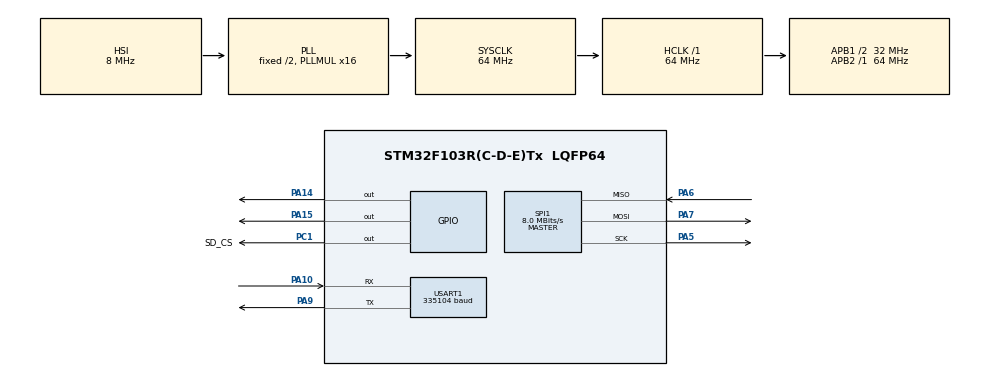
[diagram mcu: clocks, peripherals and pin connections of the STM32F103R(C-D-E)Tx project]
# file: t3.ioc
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FATFS._FS_REENTRANT=0
FREERTOS.Tasks01=defaultTask,24,128,StartDefaultTask,Default,NULL,Dynamic,NULL,NULL
FREERTOS.configUSE_NEWLIB_REENTRANT=1
Mcu.Family=STM32F1
Mcu.Name=STM32F103R(C-D-E)Tx
Mcu.Package=LQFP64
NVIC.PriorityGroup=NVIC_PRIORITYGROUP_4
NVIC.TIM1_UP_IRQn=true\:15\:0\:false\:false\:true\:false\:false\:true\:true
NVIC.TimeBase=TIM1_UP_IRQn
NVIC.TimeBaseIP=TIM1
PA10.Mode=Asynchronous
PA10.Signal=USART1_RX
PA14.Signal=GPIO_Output
PA15.Signal=GPIO_Output
PA5.Mode=Full_Duplex_Master
PA5.Signal=SPI1_SCK
PA6.Mode=Full_Duplex_Master
PA6.Signal=SPI1_MISO
PA7.Mode=Full_Duplex_Master
PA7.Signal=SPI1_MOSI
PA9.Mode=Asynchronous
PA9.Signal=USART1_TX
PC1.GPIO_Label=SD_CS
PC1.Signal=GPIO_Output
ProjectManager.HeapSize=0x200
ProjectManager.StackSize=0x400
ProjectManager.TargetToolchain=STM32CubeIDE
RCC.AHBFreq_Value=64000000
RCC.APB1CLKDivider=RCC_HCLK_DIV2
RCC.APB1Freq_Value=32000000
RCC.APB1TimFreq_Value=64000000
RCC.APB2Freq_Value=64000000
RCC.APB2TimFreq_Value=64000000
RCC.HCLKFreq_Value=64000000
RCC.PLLMUL=RCC_PLL_MUL16
RCC.SYSCLKFreq_VALUE=64000000
RCC.SYSCLKSource=RCC_SYSCLKSOURCE_PLLCLK
RCC.USBFreq_Value=64000000
SPI1.BaudRatePrescaler=SPI_BAUDRATEPRESCALER_8
SPI1.CalculateBaudRate=8.0 MBits/s
SPI1.Direction=SPI_DIRECTION_2LINES
SPI1.Mode=SPI_MODE_MASTER
SPI1.VirtualType=VM_MASTER
USART1.BaudRate=335104
USART1.VirtualMode=VM_ASYNC
VP_FATFS_VS_Generic.Mode=User_defined
VP_FREERTOS_VS_CMSIS_V2.Mode=CMSIS_V2
VP_SYS_VS_ND.Mode=No_Debug
VP_SYS_VS_tim1.Mode=TIM1
board=custom

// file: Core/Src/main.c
/* USER CODE BEGIN Header */
/**
  ******************************************************************************
  * @file           : main.c
  * @brief          : Main program body
  ******************************************************************************
  * @attention
  *
  * Copyright (c) 2025 STMicroelectronics.
  * All rights reserved.
  *
  * This software is licensed under terms that can be found in the LICENSE file
  * in the root directory of this software component.
  * If no LICENSE file comes with this software, it is provided AS-IS.
  *
  ******************************************************************************
  */
/* USER CODE END Header */
#include "main.h"
#include "cmsis_os.h"
#include "fatfs.h"

/* USER CODE BEGIN Includes */
#include <stdio.h>
#include <string.h>
#include <stdarg.h> //for va_list var arg functions
/* USER CODE END Includes */

SPI_HandleTypeDef hspi1;

UART_HandleTypeDef huart1;

/* Definitions for defaultTask */
osThreadId_t defaultTaskHandle;
const osThreadAttr_t defaultTask_attributes = {
  .name = "defaultTask",
  .stack_size = 128 * 4,
  .priority = (osPriority_t) osPriorityNormal,
};

void SystemClock_Config(void);
static void MX_GPIO_Init(void);
static void MX_USART1_UART_Init(void);
static void MX_SPI1_Init(void);
void StartDefaultTask(void *argument);

/* USER CODE BEGIN PFP */
void printk(const char*, ...);
#define myprintf printk
/* USER CODE END PFP */

int main(void)
{

  /* MCU Configuration--------------------------------------------------------*/

  /* Reset of all peripherals, Initializes the Flash interface and the Systick. */
  HAL_Init();

  /* Configure the system clock */
  SystemClock_Config();

  /* Initialize all configured peripherals */
  MX_GPIO_Init();
  MX_FATFS_Init();
  MX_USART1_UART_Init();
  MX_SPI1_Init();
  /* USER CODE BEGIN 2 */

  myprintf("\r\n~ SD card demo by kiwih ~\r\n\r\n");
  HAL_Delay(1000); //a short delay is important to let the SD card settle

    //some variables for FatFs
    FATFS FatFs; 	//Fatfs handle
    FIL fil; 		//File handle
    FRESULT fres; //Result after operations

    //Open the file system
    fres = f_mount(&FatFs, "", 1); //1=mount now
    if (fres != FR_OK) {
  	myprintf("f_mount error (%i)\r\n", fres);
  	while(1);
    }

    //Let's get some statistics from the SD card
    DWORD free_clusters, free_sectors, total_sectors;

    FATFS* getFreeFs;

    fres = f_getfree("", &free_clusters, &getFreeFs);
    if (fres != FR_OK) {
  	myprintf("f_getfree error (%i)\r\n", fres);
  	while(1);
    }

    //Formula comes from ChaN's documentation
    total_sectors = (getFreeFs->n_fatent - 2) * getFreeFs->csize;
    free_sectors = free_clusters * getFreeFs->csize;

    myprintf("SD card stats:\r\n%10lu KiB total drive space.\r\n%10lu KiB available.\r\n", total_sectors / 2, free_sectors / 2);

    //Read 30 bytes from "test.txt" on the SD card
    BYTE readBuf[512];

    //Now let's try to open file "test.txt"
    fres = f_open(&fil, "test.txt", FA_READ);
    if (fres == FR_OK) {
        myprintf("I was able to open 'test.txt' for reading!\r\n");

        //We can either use f_read OR f_gets to get data out of files
        //f_gets is a wrapper on f_read that does some string formatting for us
        TCHAR* rres = f_gets((TCHAR*)readBuf, 30, &fil);
        if(rres != 0) {
            myprintf("Read string from 'test.txt' contents: %s\r\n", readBuf);
        } else {
            myprintf("f_gets error (%i)\r\n", fres);
        }

        //Be a tidy kiwi - don't forget to close your file!
        f_close(&fil);
    }
    else{
        myprintf("f_open error (%i)\r\n", fres);
        //while(1);
    }

    UINT rlen, ttl=0;
    //Now let's try to open file "V0/yuv0.bin"
    fres = f_open(&fil, "V0/yuv0.bin", FA_READ);
    if (fres == FR_OK) {
        myprintf("second open ok!\r\n");

        uint32_t tickstart=HAL_GetTick();
        while(1){
            f_read(&fil, readBuf, 512, &rlen);
            ttl+=rlen;
            if(rlen == 512) {
                //myprintf(">");
            } else {
                myprintf("end of file, total len %d\r\n", ttl);
                break;
            }
        }
        myprintf("time used:%dms\r\n", HAL_GetTick()-tickstart);

        //Be a tidy kiwi - don't forget to close your file!
        f_close(&fil);
    }
    else{
        myprintf("f_open error (%i)\r\n", fres);
        //while(1);
    }
#if 0
    //Now let's try and write a file "write.txt"
    fres = f_open(&fil, "write.txt", FA_WRITE | FA_OPEN_ALWAYS | FA_CREATE_ALWAYS);
    if(fres == FR_OK) {
        myprintf("I was able to open 'write.txt' for writing\r\n");

        //Copy in a string
        strncpy((char*)readBuf, "a new file is made!", 19);
        UINT bytesWrote;
        fres = f_write(&fil, readBuf, 19, &bytesWrote);
        if(fres == FR_OK) {
            myprintf("Wrote %i bytes to 'write.txt'!\r\n", bytesWrote);
        } else {
            myprintf("f_write error (%i)\r\n", fres);
        }

        //Be a tidy kiwi - don't forget to close your file!
        f_close(&fil);
    } else {
        myprintf("f_open error (%i)\r\n", fres);
    }
#endif
    //We're done, so de-mount the drive
    myprintf("umount\r\n");
    f_mount(NULL, "", 0);

  /* USER CODE END 2 */

  /* Init scheduler */
  osKernelInitialize();

  /* Create the thread(s) */
  /* creation of defaultTask */
  defaultTaskHandle = osThreadNew(StartDefaultTask, NULL, &defaultTask_attributes);

  /* Start scheduler */
  osKernelStart();

  /* We should never get here as control is now taken by the scheduler */

  /* Infinite loop */
  while (1)
  {

  }
}

void SystemClock_Config(void)
{
  RCC_OscInitTypeDef RCC_OscInitStruct = {0};
  RCC_ClkInitTypeDef RCC_ClkInitStruct = {0};

  /** Initializes the RCC Oscillators according to the specified parameters
  * in the RCC_OscInitTypeDef structure.
  */
  RCC_OscInitStruct.OscillatorType = RCC_OSCILLATORTYPE_HSI;
  RCC_OscInitStruct.HSIState = RCC_HSI_ON;
  RCC_OscInitStruct.HSICalibrationValue = RCC_HSICALIBRATION_DEFAULT;
  RCC_OscInitStruct.PLL.PLLState = RCC_PLL_ON;
  RCC_OscInitStruct.PLL.PLLSource = RCC_PLLSOURCE_HSI_DIV2;
  RCC_OscInitStruct.PLL.PLLMUL = RCC_PLL_MUL16;
  if (HAL_RCC_OscConfig(&RCC_OscInitStruct) != HAL_OK)
  {
    Error_Handler();
  }

  /** Initializes the CPU, AHB and APB buses clocks
  */
  RCC_ClkInitStruct.ClockType = RCC_CLOCKTYPE_HCLK|RCC_CLOCKTYPE_SYSCLK
                              |RCC_CLOCKTYPE_PCLK1|RCC_CLOCKTYPE_PCLK2;
  RCC_ClkInitStruct.SYSCLKSource = RCC_SYSCLKSOURCE_PLLCLK;
  RCC_ClkInitStruct.AHBCLKDivider = RCC_SYSCLK_DIV1;
  RCC_ClkInitStruct.APB1CLKDivider = RCC_HCLK_DIV2;
  RCC_ClkInitStruct.APB2CLKDivider = RCC_HCLK_DIV1;

  if (HAL_RCC_ClockConfig(&RCC_ClkInitStruct, FLASH_LATENCY_2) != HAL_OK)
  {
    Error_Handler();
  }
}

static void MX_SPI1_Init(void)
{

  /* SPI1 parameter configuration*/
  hspi1.Instance = SPI1;
  hspi1.Init.Mode = SPI_MODE_MASTER;
  hspi1.Init.Direction = SPI_DIRECTION_2LINES;
  hspi1.Init.DataSize = SPI_DATASIZE_8BIT;
  hspi1.Init.CLKPolarity = SPI_POLARITY_LOW;
  hspi1.Init.CLKPhase = SPI_PHASE_1EDGE;
  hspi1.Init.NSS = SPI_NSS_SOFT;
  hspi1.Init.BaudRatePrescaler = SPI_BAUDRATEPRESCALER_8;
  hspi1.Init.FirstBit = SPI_FIRSTBIT_MSB;
  hspi1.Init.TIMode = SPI_TIMODE_DISABLE;
  hspi1.Init.CRCCalculation = SPI_CRCCALCULATION_DISABLE;
  hspi1.Init.CRCPolynomial = 10;
  if (HAL_SPI_Init(&hspi1) != HAL_OK)
  {
    Error_Handler();
  }

}

static void MX_USART1_UART_Init(void)
{

  huart1.Instance = USART1;
  huart1.Init.BaudRate = 335104;
  huart1.Init.WordLength = UART_WORDLENGTH_8B;
  huart1.Init.StopBits = UART_STOPBITS_1;
  huart1.Init.Parity = UART_PARITY_NONE;
  huart1.Init.Mode = UART_MODE_TX_RX;
  huart1.Init.HwFlowCtl = UART_HWCONTROL_NONE;
  huart1.Init.OverSampling = UART_OVERSAMPLING_16;
  if (HAL_UART_Init(&huart1) != HAL_OK)
  {
    Error_Handler();
  }

}

static void MX_GPIO_Init(void)
{
  GPIO_InitTypeDef GPIO_InitStruct = {0};

  /* GPIO Ports Clock Enable */
  __HAL_RCC_GPIOC_CLK_ENABLE();
  __HAL_RCC_GPIOA_CLK_ENABLE();

  /*Configure GPIO pin Output Level */
  HAL_GPIO_WritePin(SD_CS_GPIO_Port, SD_CS_Pin, GPIO_PIN_RESET);

  /*Configure GPIO pin Output Level */
  HAL_GPIO_WritePin(GPIOA, GPIO_PIN_14|GPIO_PIN_15, GPIO_PIN_RESET);

  /*Configure GPIO pin : SD_CS_Pin */
  GPIO_InitStruct.Pin = SD_CS_Pin;
  GPIO_InitStruct.Mode = GPIO_MODE_OUTPUT_PP;
  GPIO_InitStruct.Pull = GPIO_NOPULL;
  GPIO_InitStruct.Speed = GPIO_SPEED_FREQ_LOW;
  HAL_GPIO_Init(SD_CS_GPIO_Port, &GPIO_InitStruct);

  /*Configure GPIO pins : PA14 PA15 */
  GPIO_InitStruct.Pin = GPIO_PIN_14|GPIO_PIN_15;
  GPIO_InitStruct.Mode = GPIO_MODE_OUTPUT_PP;
  GPIO_InitStruct.Pull = GPIO_NOPULL;
  GPIO_InitStruct.Speed = GPIO_SPEED_FREQ_LOW;
  HAL_GPIO_Init(GPIOA, &GPIO_InitStruct);

}

/* USER CODE BEGIN 4 */
void printk(const char *fmt, ...) {
	static char buffer[256];
	va_list args;
	va_start(args, fmt);
	vsnprintf(buffer, sizeof(buffer), fmt, args);
	va_end(args);

	int len = strlen(buffer);
	HAL_UART_Transmit(&huart1, (uint8_t*) buffer, len, -1);

}
/* USER CODE END 4 */

void StartDefaultTask(void *argument)
{
  /* USER CODE BEGIN 5 */
	static int count=0;
  /* Infinite loop */
  for(;;)
  {
    osDelay(1000);
    HAL_GPIO_TogglePin(GPIOA, GPIO_PIN_14|GPIO_PIN_15);
    //HAL_UART_Transmit(&huart1, "U", 1, -1);
    //printk("hello %d\r", count++);
  }
  /* USER CODE END 5 */
}

void HAL_TIM_PeriodElapsedCallback(TIM_HandleTypeDef *htim)
{
  if (htim->Instance == TIM1)
  {
    HAL_IncTick();
  }
}

void Error_Handler(void)
{
  __disable_irq();
  while (1)
  {
  }
}
#ifdef USE_FULL_ASSERT
/**
  * @brief  Reports the name of the source file and the source line number
  *         where the assert_param error has occurred.
  * @param  file: pointer to the source file name
  * @param  line: assert_param error line source number
  * @retval None
  */
void assert_failed(uint8_t *file, uint32_t line)
{
  /* USER CODE BEGIN 6 */
  /* User can add his own implementation to report the file name and line number,
     e x: printf("Wrong parameters value: file %s on line %d\r\n", file, line) */
  /* USER CODE END 6 */
}
#endif /* USE_FULL_ASSERT */
